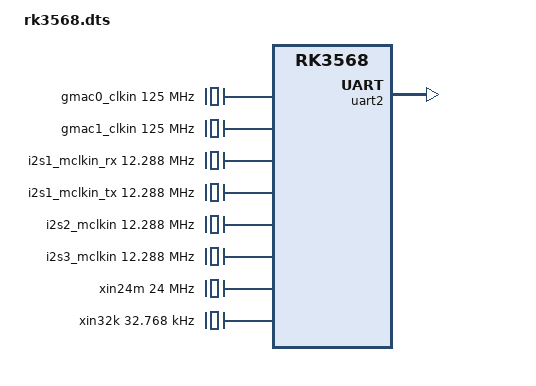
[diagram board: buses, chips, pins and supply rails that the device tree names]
// SPDX-License-Identifier: (GPL-2.0+ OR MIT)
/*
 * Copyright (c) 2017 Fuzhou Rockchip Electronics Co., Ltd
 */

/dts-v1/;
#include <dt-bindings/clock/rk3568-cru.h>
#include <dt-bindings/interrupt-controller/arm-gic.h>
#include <dt-bindings/interrupt-controller/irq.h>
#include <dt-bindings/soc/rockchip,boot-mode.h>

/ {
	compatible = "rockchip,rk3568-evb1-ddr4-v10", "rockchip,rk3568";
	
	#address-cells = <2>;
	#size-cells = <2>;

	aliases {
		serial0 = &uart2;
	};

	cpus {
		#address-cells = <2>;
		#size-cells = <0>;

		cpu0: cpu@0 {
			device_type = "cpu";
			compatible = "arm,cortex-a55";
			reg = <0x0 0x0>;
		};

		cpu1: cpu@100 {
			device_type = "cpu";
			compatible = "arm,cortex-a55";
			reg = <0x0 0x100>;
		};

		cpu2: cpu@200 {
			device_type = "cpu";
			compatible = "arm,cortex-a55";
			reg = <0x0 0x200>;
		};

		cpu3: cpu@300 {
			device_type = "cpu";
			compatible = "arm,cortex-a55";
			reg = <0x0 0x300>;
		};
	};

	gic: interrupt-controller@fd400000 {
		compatible = "arm,gic-v3";
		#interrupt-cells = <3>;
		#address-cells = <2>;
		#size-cells = <2>;
		ranges;
		interrupt-controller;

		reg = <0x0 0xfd400000 0 0x10000>, /* GICD */
		      <0x0 0xfd460000 0 0xc0000>; /* GICR */
		interrupts = <GIC_PPI 9 IRQ_TYPE_LEVEL_HIGH>;
		its: interrupt-controller@fd440000 {
			compatible = "arm,gic-v3-its";
			msi-controller;
			#msi-cells = <1>;
			reg = <0x0 0xfd440000 0x0 0x20000>;
		};
	};

	timer {
		compatible = "arm,armv8-timer";
		interrupt-parent = <&gic>;
		interrupts = <GIC_PPI 13 (GIC_CPU_MASK_SIMPLE(4) | IRQ_TYPE_LEVEL_HIGH)>,
			     <GIC_PPI 14 (GIC_CPU_MASK_SIMPLE(4) | IRQ_TYPE_LEVEL_HIGH)>,
			     <GIC_PPI 11 (GIC_CPU_MASK_SIMPLE(4) | IRQ_TYPE_LEVEL_HIGH)>,
			     <GIC_PPI 10 (GIC_CPU_MASK_SIMPLE(4) | IRQ_TYPE_LEVEL_HIGH)>;
		arm,no-tick-in-suspend;
	};

	grf: syscon@fdc60000 {
		compatible = "rockchip,rk3568-grf", "syscon", "simple-mfd";
		reg = <0x0 0xfdc60000 0x0 0x10000>;

		io_domains: io-domains {
			compatible = "rockchip,rk3568-io-voltage-domain";
			status = "disabled";
		};
	};

	pmugrf: syscon@fdc20000 {
		compatible = "rockchip,rk3568-pmugrf", "syscon", "simple-mfd";
		reg = <0x0 0xfdc20000 0x0 0x10000>;

		pmu_io_domains: io-domains {
			compatible = "rockchip,rk3568-pmu-io-voltage-domain";
			status = "disabled";
		};

		reboot_mode: reboot-mode {
			compatible = "syscon-reboot-mode";
			offset = <0x200>;
			mode-bootloader = <BOOT_BL_DOWNLOAD>;
			mode-charge = <BOOT_CHARGING>;
			mode-fastboot = <BOOT_FASTBOOT>;
			mode-loader = <BOOT_BL_DOWNLOAD>;
			mode-normal = <BOOT_NORMAL>;
			mode-recovery = <BOOT_RECOVERY>;
			mode-ums = <BOOT_UMS>;
			mode-panic = <BOOT_PANIC>;
			mode-watchdog = <BOOT_WATCHDOG>;
		};
	};

	pmucru: clock-controller@fdd00000 {
		compatible = "rockchip,rk3568-pmucru";
		reg = <0x0 0xfdd00000 0x0 0x1000>;
		rockchip,grf = <&grf>;
		rockchip,pmugrf = <&pmugrf>;
		#clock-cells = <1>;
		#reset-cells = <1>;

		assigned-clocks = <&pmucru SCLK_32K_IOE>;
		assigned-clock-parents = <&pmucru CLK_RTC_32K>;
	};

	cru: clock-controller@fdd20000 {
		compatible = "rockchip,rk3568-cru";
		reg = <0x0 0xfdd20000 0x0 0x1000>;
		rockchip,grf = <&grf>;
		#clock-cells = <1>;
		#reset-cells = <1>;

		assigned-clocks =
			<&pmucru CLK_RTC_32K>, <&cru ACLK_RKVDEC_PRE>,
			<&cru CLK_RKVDEC_CORE>, <&pmucru PLL_PPLL>,
			<&pmucru PCLK_PMU>, <&cru PLL_CPLL>,
			<&cru CPLL_500M>, <&cru CPLL_333M>,
			<&cru CPLL_250M>, <&cru CPLL_125M>,
			<&cru CPLL_100M>, <&cru CPLL_62P5M>,
			<&cru CPLL_50M>, <&cru CPLL_25M>,
			// <&cru PLL_GPLL>,
			<&cru ACLK_BUS>, <&cru PCLK_BUS>,
			<&cru ACLK_TOP_HIGH>, <&cru ACLK_TOP_LOW>,
			<&cru HCLK_TOP>, <&cru PCLK_TOP>,
			<&cru ACLK_PERIMID>, <&cru HCLK_PERIMID>,
			<&cru PLL_NPLL>, <&cru ACLK_PIPE>,
			<&cru PCLK_PIPE>, <&cru CLK_I2S0_8CH_TX_SRC>,
			<&cru CLK_I2S0_8CH_RX_SRC>, <&cru CLK_I2S1_8CH_TX_SRC>,
			<&cru CLK_I2S1_8CH_RX_SRC>, <&cru CLK_I2S2_2CH_SRC>,
			<&cru CLK_I2S2_2CH_SRC>, <&cru CLK_I2S3_2CH_RX_SRC>,
			<&cru CLK_I2S3_2CH_TX_SRC>, <&cru MCLK_SPDIF_8CH_SRC>,
			<&cru ACLK_VOP>;
		assigned-clock-rates =
			<32768>, <300000000>,
			<300000000>, <200000000>,
			<100000000>, <1000000000>,
			<500000000>, <333000000>,
			<250000000>, <125000000>,
			<100000000>, <62500000>,
			<50000000>, <25000000>,
			// <1188000000>,
			<150000000>, <100000000>,
			<500000000>, <400000000>,
			<150000000>, <100000000>,
			<300000000>, <150000000>,
			<1200000000>, <400000000>,
			<100000000>, <1188000000>,
			<1188000000>, <1188000000>,
			<1188000000>, <1188000000>,
			<1188000000>, <1188000000>,
			<1188000000>, <1188000000>,
			<500000000>;
		assigned-clock-parents =
			<&pmucru CLK_RTC32K_FRAC>, <&cru PLL_GPLL>,
			<&cru PLL_GPLL>;
	};

	sclk_clk: sclk {
		#clock-cells = <0>;
		compatible = "fixed-clock";
		clock-frequency = <24000000>;
	};

	pclk_clk: pclk {
		#clock-cells = <0>;
		compatible = "fixed-clock";
		clock-frequency = <24000000>;
	};

	gmac0_clkin: external-gmac0-clock {
		compatible = "fixed-clock";
		clock-frequency = <125000000>;
		clock-output-names = "gmac0_clkin";
		#clock-cells = <0>;
	};

	gmac1_clkin: external-gmac1-clock {
		compatible = "fixed-clock";
		clock-frequency = <125000000>;
		clock-output-names = "gmac1_clkin";
		#clock-cells = <0>;
	};

	gmac0_xpcsclk: xpcs-gmac0-clock {
		compatible = "fixed-clock";
		clock-frequency = <125000000>;
		clock-output-names = "clk_gmac0_xpcs_mii";
		#clock-cells = <0>;
	};

	gmac1_xpcsclk: xpcs-gmac1-clock {
		compatible = "fixed-clock";
		clock-frequency = <125000000>;
		clock-output-names = "clk_gmac1_xpcs_mii";
		#clock-cells = <0>;
	};

	i2s1_mclkin_rx: i2s1-mclkin-rx {
		compatible = "fixed-clock";
		#clock-cells = <0>;
		clock-frequency = <12288000>;
		clock-output-names = "i2s1_mclkin_rx";
	};

	i2s1_mclkin_tx: i2s1-mclkin-tx {
		compatible = "fixed-clock";
		#clock-cells = <0>;
		clock-frequency = <12288000>;
		clock-output-names = "i2s1_mclkin_tx";
	};

	i2s2_mclkin: i2s2-mclkin {
		compatible = "fixed-clock";
		#clock-cells = <0>;
		clock-frequency = <12288000>;
		clock-output-names = "i2s2_mclkin";
	};

	i2s3_mclkin: i2s3-mclkin {
		compatible = "fixed-clock";
		#clock-cells = <0>;
		clock-frequency = <12288000>;
		clock-output-names = "i2s3_mclkin";
	};

	mpll: mpll {
		compatible = "fixed-clock";
		#clock-cells = <0>;
		clock-frequency = <800000000>;
		clock-output-names = "mpll";
	};

	xin24m: xin24m {
		compatible = "fixed-clock";
		#clock-cells = <0>;
		clock-frequency = <24000000>;
		clock-output-names = "xin24m";
	};

	xin32k: xin32k {
		compatible = "fixed-clock";
		clock-frequency = <32768>;
		clock-output-names = "xin32k";
		#clock-cells = <0>;
		// pinctrl-names = "default";
		// pinctrl-0 = <&clk32k_out0>;
	};

	uart2: serial@fe660000 {
		compatible = "snps,dw-apb-uart";
		reg = <0x0 0xfe660000 0x0 0x100>;
		interrupt-parent = <&gic>;
		interrupts = <GIC_SPI 118 IRQ_TYPE_LEVEL_HIGH>;
		clocks = <&sclk_clk>, <&pclk_clk>;
		clock-names = "baudclk", "apb_pclk";
		reg-shift = <2>;
		reg-io-width = <4>;
		status = "okay";
	};

	reserved_memory: reserved-memory {
		#address-cells = <2>;
		#size-cells = <2>;
		ranges;

		drm_logo: drm-logo@00000000 {
			compatible = "rockchip,drm-logo";
			reg = <0x0 0x0 0x0 0x0>;
		};

		drm_cubic_lut: drm-cubic-lut@00000000 {
			compatible = "rockchip,drm-cubic-lut";
			reg = <0x0 0x0 0x0 0x0>;
		};
	};

	display_subsystem: display-subsystem {
		compatible = "rockchip,display-subsystem";
		memory-region = <&drm_logo>;
		memory-region-names = "drm-logo";
	};

	chosen {
		stdout-path = "serial0:115200n8";
		bootargs = "loglevel=8 ignore_loglevel earlycon=uart8250,mmio32,0xfe660000 root=/dev/ram0 rw";
	};
};
